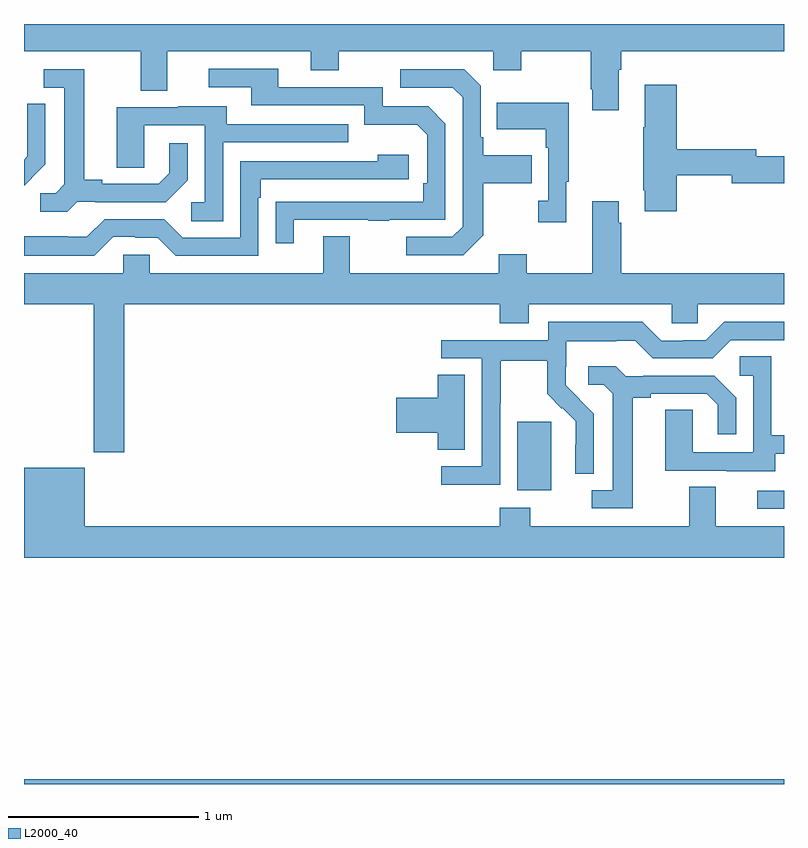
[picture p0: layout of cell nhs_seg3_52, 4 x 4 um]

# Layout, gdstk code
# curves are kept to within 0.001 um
import gdstk
lib = gdstk.Library(unit=1e-6, precision=1e-09)
def R(c, l, rs):  # rectangles x0, y0, x1, y1
    for r in rs: c.add(gdstk.rectangle(r[:2], r[2:], *l))
def P(c, l, *ps):  # polygons
    for p in ps: c.add(gdstk.Polygon(p, *l))
L2000_40 = (2000, 40)

nhs_seg3_52 = lib.new_cell('nhs_seg3_52')
R(nhs_seg3_52, L2000_40, [(113,690.4,117,690.424), (116.859,691.848,117,691.944), (115.595,691.946,115.774,692.307)])
P(nhs_seg3_52, L2000_40, [(116.131,694.16),(116.144,694.16),(116.144,694.256),(117,694.256),(117,694.4),(113,694.4),(113,694.256),(113.615,694.256),(113.615,694.048),(113.755,694.048),(113.755,694.256),(114.509,694.256),(114.509,694.157),(114.657,694.157),(114.657,694.256),(115.47,694.256),(115.47,694.157),(115.617,694.157),(115.617,694.256),(115.984,694.256),(115.984,694.057),(115.991,694.057),(115.991,693.945),(116.131,693.945)],
  [(114.421,693.369),(114.811,693.369),(114.811,693.364),(114.923,693.364),(114.923,693.369),(115.218,693.369),(115.218,693.876),(115.128,693.966),(114.888,693.966),(114.888,694.068),(114.337,694.068),(114.337,694.164),(113.973,694.164),(113.973,694.068),(114.197,694.068),(114.197,693.972),(114.792,693.972),(114.792,693.869),(115.069,693.869),(115.122,693.816),(115.122,693.562),(115.102,693.562),(115.102,693.465),(114.325,693.464),(114.325,693.246),(114.421,693.246)],
  [(115.417,693.289),(115.417,693.562),(115.673,693.562),(115.673,693.709),(115.417,693.709),(115.417,693.805),(115.404,693.805),(115.404,694.074),(115.317,694.161),(114.981,694.161),(114.981,694.065),(115.257,694.065),(115.308,694.014),(115.308,693.333),(115.254,693.279),(115.011,693.279),(115.011,693.183),(115.311,693.183)],
  [(113.28,693.465),(113.374,693.465),(113.374,693.462),(113.746,693.462),(113.862,693.578),(113.862,693.772),(113.765,693.772),(113.765,693.615),(113.708,693.558),(113.413,693.558),(113.413,693.581),(113.317,693.581),(113.317,694.161),(113.103,694.161),(113.103,694.065),(113.213,694.065),(113.213,693.557),(113.166,693.51),(113.085,693.51),(113.085,693.413),(113.228,693.413)],
  [(116.435,693.604),(116.726,693.604),(116.726,693.562),(117,693.562),(117,693.704),(116.854,693.704),(116.854,693.74),(116.435,693.74),(116.435,694.081),(116.267,694.081),(116.267,693.857),(116.26,693.857),(116.26,693.526),(116.267,693.526),(116.267,693.414),(116.435,693.414)],
  [(115.855,693.569),(115.867,693.569),(115.867,693.985),(115.489,693.985),(115.489,693.845),(115.746,693.845),(115.746,693.749),(115.758,693.749),(115.758,693.47),(115.707,693.47),(115.707,693.357),(115.855,693.357)],
  [(113.04,693.588),(113.039,693.589),(113.112,693.662),(113.112,693.98),(113.016,693.98),(113.016,693.826),(113.018,693.826),(113.018,693.704),(113,693.686),(113,693.548)],
  [(114.048,693.777),(114.707,693.777),(114.707,693.873),(114.067,693.873),(114.067,693.967),(113.813,693.967),(113.813,693.963),(113.489,693.963),(113.489,693.643),(113.634,693.643),(113.634,693.867),(113.952,693.867),(113.952,693.462),(113.88,693.462),(113.88,693.361),(114.048,693.361)],
  [(113.469,693.279),(113.585,693.279),(113.585,693.276),(113.703,693.276),(113.799,693.18),(114.234,693.18),(114.234,693.485),(114.247,693.485),(114.247,693.582),(115.024,693.582),(115.024,693.712),(114.863,693.712),(114.863,693.678),(114.138,693.678),(114.138,693.276),(113.835,693.276),(113.739,693.372),(113.424,693.372),(113.331,693.279),(113.231,693.279),(113.231,693.283),(113,693.283),(113,693.179),(113.369,693.179)],
  [(113.528,692.924),(115.505,692.924),(115.505,692.825),(115.657,692.825),(115.657,692.924),(116.409,692.924),(116.409,692.826),(116.547,692.826),(116.547,692.924),(117,692.924),(117,693.088),(116.144,693.088),(116.144,693.353),(116.131,693.353),(116.131,693.466),(115.991,693.466),(115.991,693.088),(115.647,693.088),(115.647,693.187),(115.499,693.187),(115.499,693.088),(114.715,693.088),(114.715,693.283),(114.575,693.283),(114.575,693.088),(113.661,693.088),(113.661,693.186),(113.523,693.186),(113.523,693.088),(113,693.088),(113,692.924),(113.368,692.924),(113.368,692.145),(113.528,692.145)],
  [(115.506,692.404),(115.509,692.404),(115.509,692.628),(115.753,692.628),(115.753,692.453),(115.83,692.376),(115.833,692.379),(115.904,692.309),(115.904,692.186),(115.902,692.186),(115.902,692.032),(115.998,692.032),(115.998,692.35),(115.852,692.498),(115.852,692.595),(115.854,692.595),(115.854,692.729),(116.117,692.729),(116.117,692.733),(116.217,692.733),(116.31,692.64),(116.625,692.64),(116.721,692.736),(117,692.736),(117,692.832),(116.685,692.832),(116.589,692.736),(116.471,692.736),(116.471,692.733),(116.355,692.733),(116.255,692.833),(115.758,692.833),(115.758,692.736),(115.197,692.736),(115.197,692.64),(115.41,692.64),(115.41,692.073),(115.197,692.073),(115.197,691.975),(115.506,691.975)],
  [(116.953,692.139),(117,692.139),(117,692.235),(116.934,692.235),(116.934,692.651),(116.766,692.651),(116.766,692.55),(116.838,692.55),(116.838,692.145),(116.52,692.145),(116.52,692.369),(116.375,692.369),(116.375,692.049),(116.699,692.049),(116.699,692.045),(116.953,692.045)],
  [(116.203,692.432),(116.299,692.432),(116.299,692.454),(116.594,692.454),(116.651,692.397),(116.651,692.241),(116.748,692.241),(116.748,692.434),(116.632,692.55),(116.26,692.55),(116.26,692.547),(116.166,692.547),(116.114,692.599),(115.971,692.599),(115.971,692.502),(116.052,692.502),(116.099,692.455),(116.099,691.947),(115.989,691.947),(115.989,691.851),(116.203,691.851)],
  [(115.321,692.555),(115.178,692.555),(115.178,692.432),(114.96,692.432),(114.96,692.249),(115.178,692.249),(115.178,692.158),(115.321,692.158)],
  [(117,691.756),(116.641,691.756),(116.641,691.964),(116.501,691.964),(116.501,691.756),(115.665,691.756),(115.665,691.855),(115.505,691.855),(115.505,691.756),(113.32,691.756),(113.32,692.065),(113,692.065),(113,691.592),(117,691.592)])

lib.write_gds('nhs_seg3_52.gds')
